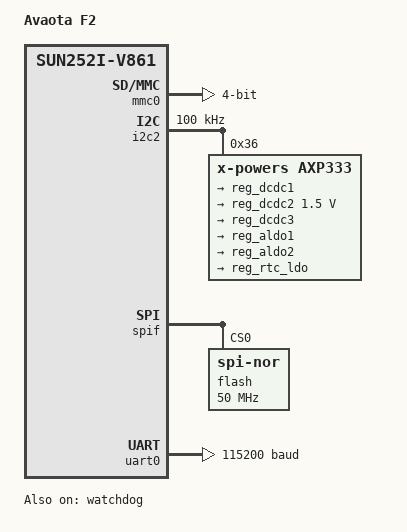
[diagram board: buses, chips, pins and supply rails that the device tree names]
// SPDX-License-Identifier: (GPL-2.0+ OR MIT)
/* Copyright (c) 2026 Han Gao <gaohan@iscas.ac.cn> */

/dts-v1/;
#include "sun252i-v861.dtsi"

/ {
	model = "Avaota F2";
	compatible = "avaota,avaota-f2", "allwinner,sun252i-v861";

	aliases {
		i2c2 = &i2c2;
		mmc0 = &mmc0;
		serial0 = &uart0;
		spi0 = &spif;
	};

	chosen {
		stdout-path = "serial0:115200n8";
	};

	memory@40000000 {
		device_type = "memory";
		/* The bootloader supplies the detected capacity. */
		reg = <0x40000000 0>;
	};
};

&mmc0 {
	bus-width = <4>;
	max-frequency = <50000000>;
	cap-sd-highspeed;
	broken-cd;
	disable-wp;
	status = "okay";
};

&i2c2 {
	clock-frequency = <100000>;
	status = "okay";

	axp333: pmic@36 {
		compatible = "x-powers,axp333";
		reg = <0x36>;

		regulators {
			reg_dcdc1: dcdc1 {
				regulator-name = "axp333-dcdc1";
			};

			reg_dcdc2: dcdc2 {
				regulator-name = "vcc-dram";
				regulator-min-microvolt = <1500000>;
				regulator-max-microvolt = <1500000>;
				regulator-always-on;
			};

			reg_dcdc3: dcdc3 {
				regulator-name = "axp333-dcdc3";
			};

			reg_aldo1: aldo1 {
				regulator-name = "axp333-aldo1";
			};

			reg_aldo2: aldo2 {
				regulator-name = "axp333-aldo2";
			};

			reg_rtc_ldo: rtc-ldo {
				regulator-name = "axp333-rtc-ldo";
			};
		};
	};
};

&spif {
	status = "okay";

	flash@0 {
		compatible = "jedec,spi-nor";
		reg = <0>;
		spi-max-frequency = <50000000>;
		spi-rx-bus-width = <1>;
		spi-tx-bus-width = <1>;
	};
};

&watchdog {
	status = "okay";
};

&uart0 {
	current-speed = <115200>;
	status = "okay";
};
